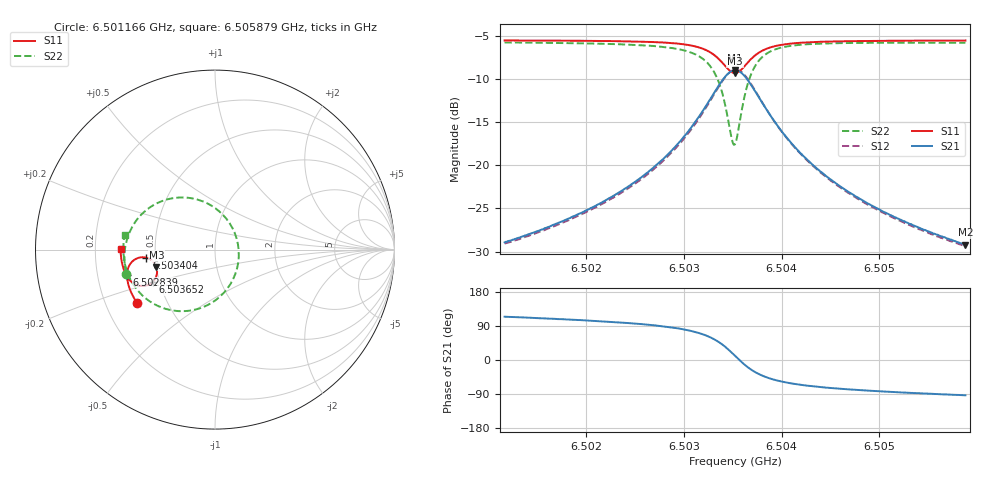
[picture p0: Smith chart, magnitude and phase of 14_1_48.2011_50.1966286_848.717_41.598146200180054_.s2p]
#  HZ  S  RI  R  50.00
! Rohde & Schwarz Vector Network Analyzer
! Rohde-Schwarz,ZNB20-2Port,1311601062101988,3.16
! Created: UTC 3/20/2024, 11:36:40 AM
! freq[Hz]  re:S11  im:S11  re:S21  im:S21  re:S12  im:S12  re:S22  im:S22
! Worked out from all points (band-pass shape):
!   401 points, 6.501166 GHz to 6.505879 GHz, reference 50 ohm
!   highest |S21| = -9.01 dB at 6.503522 GHz (marker M1); lowest = -29.2 dB at 6.505879 GHz (marker M2)
!   |S21| within 3 dB of the highest: 6.503288 GHz to 6.503759 GHz (471 kHz wide, 0.00724 % of centre)
!   lowest |S11| = -9.4 dB at 6.503522 GHz (marker M3), VSWR 2.03, Z = 25 - j5.58 ohm
!   |S11| at or under -10 dB: nowhere
!   |S22| runs from -17.6 to -5.8 dB; largest |S21 - S12| = 0.012
!   S11 on the Smith chart (normalised r, x): 6.501166 GHz: 0.34, -0.27; 6.502839 GHz: 0.33, -0.12; 6.503404 GHz: 0.45, -0.05; 6.503652 GHz: 0.46, -0.20; 6.505879 GHz: 0.31, +0.00
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6.501166e9  -0.436 -0.2952  -0.0147 0.0326  -0.013 0.0327  -0.4952 -0.1332
6.5019554e9  -0.4685 -0.2348  -0.0137 0.0514  -0.0113 0.0508  -0.5047 -0.0455
6.5023913e9  -0.483 -0.1947  -0.0103 0.0721  -0.0072 0.0707  -0.499 0.0205
6.5027447e9  -0.4904 -0.1534  -0.00033 0.1032  0.00333 0.1005  -0.4762 0.0967
6.502839e9  -0.4906 -0.1399  0.00556 0.1158  0.00942 0.1126  -0.4632 0.1234
6.5030393e9  -0.4849 -0.1052  0.0308 0.1525  0.0342 0.1477  -0.4112 0.1942
6.5031807e9  -0.4685 -0.0746  0.0722 0.1876  0.0748 0.1813  -0.3306 0.2543
6.5033102e9  -0.4309 -0.0474  0.1524 0.214  0.1528 0.2076  -0.1849 0.2905
6.5034045e9  -0.3824 -0.0449  0.2475 0.1966  0.2471 0.192  -0.0202 0.2452
6.503487e9  -0.3375 -0.0756  0.329 0.1189  0.3315 0.1151  0.1102 0.0916
6.5035223e9  -0.3261 -0.0987  0.3476 0.0681  0.3514 0.063  0.132 -0.00424
6.5035459e9  -0.3228 -0.116  0.3512 0.032  0.3556 0.0254  0.1297 -0.0709
6.5035812e9  -0.3247 -0.1413  0.3435 -0.0205  0.3475 -0.0296  0.1011 -0.1644
6.5036519e9  -0.348 -0.1806  0.2945 -0.1005  0.2949 -0.1126  -0.0148 -0.294
6.5037462e9  -0.3903 -0.2016  0.2125 -0.1457  0.2075 -0.1565  -0.1824 -0.343
6.5038168e9  -0.4178 -0.2018  0.1625 -0.1511  0.1558 -0.1595  -0.2758 -0.3301
6.5038993e9  -0.4417 -0.1947  0.1202 -0.145  0.1127 -0.1506  -0.3501 -0.2969
6.5040643e9  -0.4719 -0.1734  0.07 -0.1227  0.0634 -0.1253  -0.4314 -0.2267
6.5043117e9  -0.4951 -0.1422  0.0359 -0.0946  0.0308 -0.0951  -0.4807 -0.1464
6.5046533e9  -0.5106 -0.1049  0.0163 -0.0701  0.0127 -0.0696  -0.5038 -0.0714
6.505101e9  -0.5205 -0.0623  0.00546 -0.0514  0.00306 -0.0507  -0.5108 -0.00335
6.5058786e9  -0.5262 0.00455  -0.00197 -0.0346  -0.00333 -0.0338  -0.504 0.083
